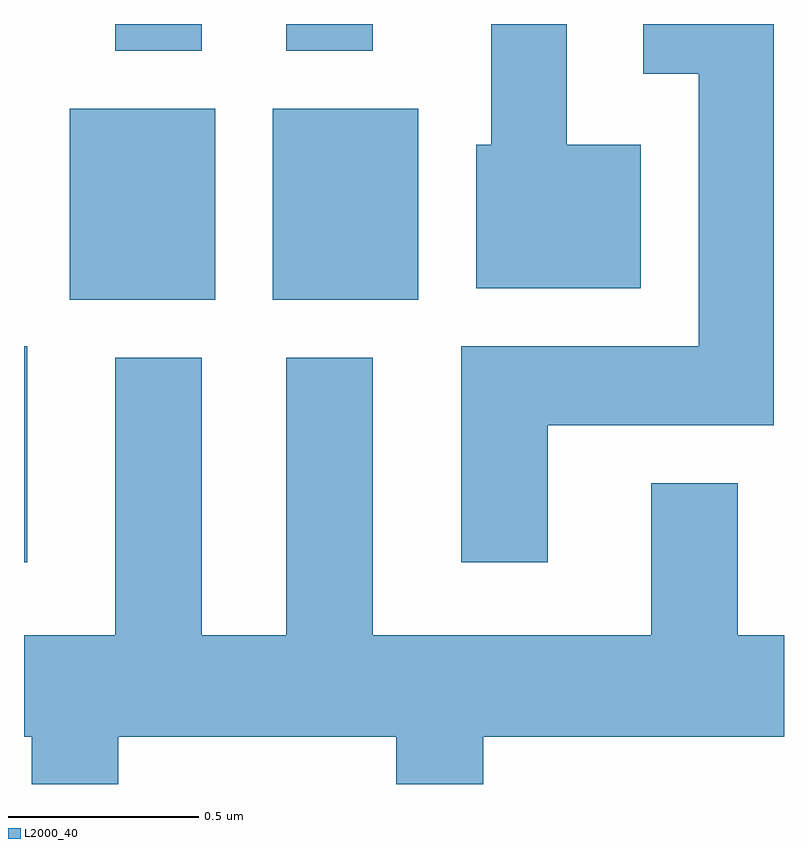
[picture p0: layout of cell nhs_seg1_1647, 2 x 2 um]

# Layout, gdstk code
import gdstk
lib = gdstk.Library(unit=1e-6, precision=1e-09)
def R(c, l, rs):  # rectangles x0, y0, x1, y1
    for r in rs: c.add(gdstk.rectangle(r[:2], r[2:], *l))
def P(c, l, *ps):  # polygons
    for p in ps: c.add(gdstk.Polygon(p, *l))
L2000_40 = (2000, 40)

nhs_seg1_1647 = lib.new_cell('nhs_seg1_1647')
R(nhs_seg1_1647, L2000_40, [(197.611,862.296,197.619,862.864), (197.731,862.986,198.114,863.489), (198.266,862.986,198.649,863.489), (197.851,863.641,198.079,863.712), (198.301,863.641,198.529,863.712)])
P(nhs_seg1_1647, L2000_40, [(199.234,863.394),(199.039,863.394),(199.039,863.712),(198.841,863.712),(198.841,863.394),(198.801,863.394),(198.801,863.016),(199.234,863.016)],
  [(198.989,862.656),(199.584,862.656),(199.584,863.712),(199.241,863.712),(199.241,863.581),(199.386,863.581),(199.386,862.864),(198.761,862.864),(198.761,862.296),(198.989,862.296)],
  [(197.859,861.836),(198.591,861.836),(198.591,861.712),(198.819,861.712),(198.819,861.836),(199.611,861.836),(199.611,862.104),(199.489,862.104),(199.489,862.504),(199.261,862.504),(199.261,862.104),(198.529,862.104),(198.529,862.834),(198.301,862.834),(198.301,862.104),(198.079,862.104),(198.079,862.834),(197.851,862.834),(197.851,862.104),(197.611,862.104),(197.611,861.836),(197.631,861.836),(197.631,861.712),(197.859,861.712)])

lib.write_gds('nhs_seg1_1647.gds')
